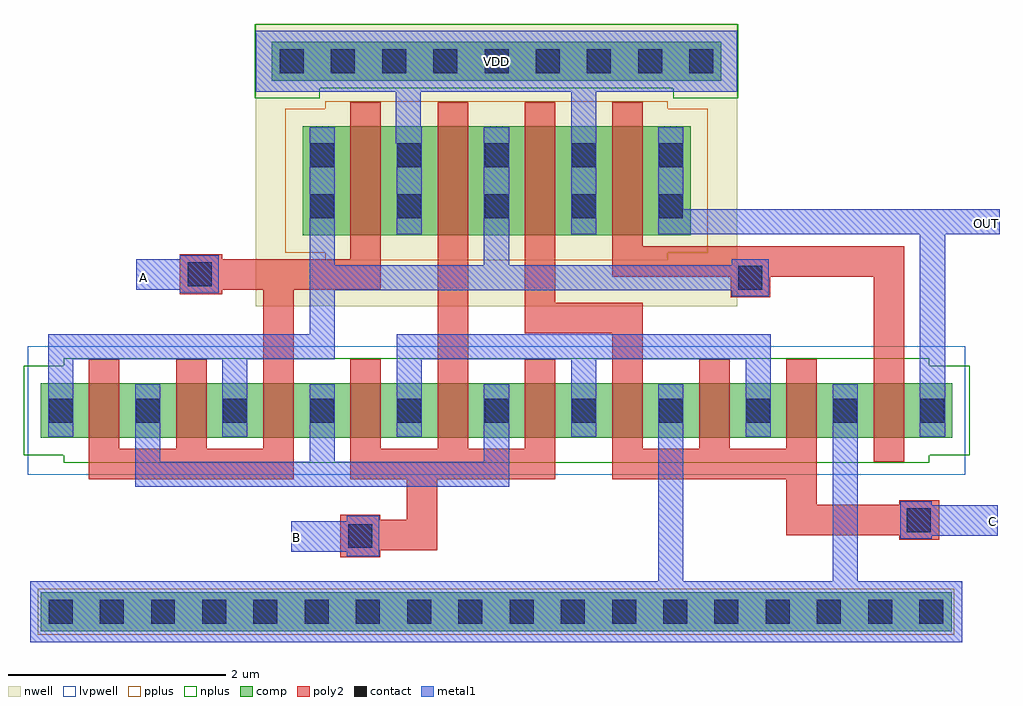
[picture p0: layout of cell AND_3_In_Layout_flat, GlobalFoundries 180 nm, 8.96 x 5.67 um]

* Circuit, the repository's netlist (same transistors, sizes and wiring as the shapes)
* NGSPICE file created from AND_3_In_Layout.ext - technology: gf180mcuC

.subckt nmos_3p3_JCGST2 a_n28_n94# a_132_n94# a_n132_n50# a_n276_n50# a_188_n50# a_28_n50#
+ a_n188_n94# VSUBS
X0 a_28_n50# a_n28_n94# a_n132_n50# VSUBS nfet_03v3 ad=0.13p pd=1.02u as=0.13p ps=1.02u w=0.5u l=0.28u
X1 a_n132_n50# a_n188_n94# a_n276_n50# VSUBS nfet_03v3 ad=0.13p pd=1.02u as=0.22p ps=1.88u w=0.5u l=0.28u
X2 a_188_n50# a_132_n94# a_28_n50# VSUBS nfet_03v3 ad=0.22p pd=1.88u as=0.13p ps=1.02u w=0.5u l=0.28u
.ends

.subckt nmos_3p3_GGGST2 a_n28_n94# a_n116_n50# a_28_n50# VSUBS
X0 a_28_n50# a_n28_n94# a_n116_n50# VSUBS nfet_03v3 ad=0.22p pd=1.88u as=0.22p ps=1.88u w=0.5u l=0.28u
.ends

.subckt pmos_3p3_MNVUAR w_n202_n230# a_28_n100# a_n28_n144# a_n116_n100#
X0 a_28_n100# a_n28_n144# a_n116_n100# w_n202_n230# pfet_03v3 ad=0.44p pd=2.88u as=0.44p ps=2.88u w=1u l=0.28u
.ends

.subckt AND_3_In_Layout A B C OUT VDD VSS
Xnmos_3p3_JCGST2_0 C C VSS m1_677_137# VSS m1_677_137# C VSS nmos_3p3_JCGST2
Xnmos_3p3_JCGST2_1 A A m1_197_n22# a_1072_364# m1_197_n22# a_1072_364# A VSS nmos_3p3_JCGST2
Xnmos_3p3_JCGST2_2 B B m1_677_137# m1_197_n22# m1_677_137# m1_197_n22# B VSS nmos_3p3_JCGST2
Xnmos_3p3_GGGST2_0 a_1072_364# VSS OUT VSS nmos_3p3_GGGST2
Xpmos_3p3_MNVUAR_0 VDD a_1072_364# B VDD pmos_3p3_MNVUAR
Xpmos_3p3_MNVUAR_1 VDD VDD A a_1072_364# pmos_3p3_MNVUAR
Xpmos_3p3_MNVUAR_2 VDD OUT a_1072_364# VDD pmos_3p3_MNVUAR
Xpmos_3p3_MNVUAR_3 VDD VDD C a_1072_364# pmos_3p3_MNVUAR
.ends

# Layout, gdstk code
import gdstk
lib = gdstk.Library(unit=1e-6, precision=1e-09)
def R(c, l, rs):  # rectangles x0, y0, x1, y1
    for r in rs: c.add(gdstk.rectangle(r[:2], r[2:], *l))
def A(c, l, x, y, w, h, nx, ny, dx, dy):  # array of equal rectangles
    R(c, l, [(x+i*dx, y+j*dy, x+i*dx+w, y+j*dy+h) for i in range(nx) for j in range(ny)])
nwell = (21, 0)
comp = (22, 0)
poly2 = (30, 0)
pplus = (31, 0)
nplus = (32, 0)
contact = (33, 0)
metal1 = (34, 0)
lvpwell = (204, 0)

and_3_in_layout_flat = lib.new_cell('AND_3_In_Layout_flat')
R(and_3_in_layout_flat, nwell, [(2.09,1.55,6.51,4.14)])
R(and_3_in_layout_flat, comp, [(0.12,-1.435,8.475,-1.075), (0.12,0.34,8.48,0.84), (2.52,2.2,6.08,3.2), (2.24,3.615,6.36,3.975)])
A(and_3_in_layout_flat, poly2, 0.56, -0.04, 1.88, 0.28, 3, 1, 2.4, 0)
A(and_3_in_layout_flat, poly2, 1.36, 0.24, 0.28, 0.82, 4, 1, 1.6, 0)
R(and_3_in_layout_flat, poly2, [(2.865,-0.755,3.235,-0.69), (2.865,-0.69,3.755,-0.41), (7.995,-0.595,8.36,-0.555), (6.96,-0.555,8.36,-0.275), (2.865,-0.41,3.235,-0.365), (3.475,-0.41,3.755,-0.04), (6.96,-0.275,7.24,-0.04), (7.995,-0.275,8.36,-0.23), (7.76,0.12,8.04,1.82), (0.56,0.24,0.84,1.06), (2.16,0.24,2.44,1.7), (3.76,0.24,4.04,3.42), (5.36,0.24,5.64,1.3), (6.96,0.24,7.24,1.06), (4.56,1.3,5.64,1.58), (4.56,1.58,4.84,3.42), (6.45,1.63,6.81,1.82), (1.395,1.66,1.785,1.7), (1.395,1.7,3.24,1.98), (5.36,1.82,8.04,2.1), (1.395,1.98,1.785,2.025), (2.96,1.98,3.24,3.42), (5.36,2.1,5.64,3.42)])
R(and_3_in_layout_flat, pplus, [(0.09,-1.465,8.5,-1.045), (2.73,1.97,5.87,2.04), (2.36,2.04,6.24,3.36), (2.73,3.36,5.87,3.43)])
R(and_3_in_layout_flat, nplus, [(0.33,0.11,8.27,0.18), (-0.04,0.18,8.64,1), (0.33,1,8.27,1.07), (2.08,3.455,2.68,3.55), (5.92,3.455,6.52,3.55), (2.08,3.55,6.52,4.135)])
A(and_3_in_layout_flat, contact, 0.19, -1.365, 0.22, 0.22, 18, 1, 0.47, 0)
A(and_3_in_layout_flat, contact, 0.19, 0.48, 0.22, 0.22, 11, 1, 0.8, 0)
A(and_3_in_layout_flat, contact, 2.59, 2.355, 0.22, 0.22, 5, 2, 0.8, 0.47)
A(and_3_in_layout_flat, contact, 2.31, 3.685, 0.22, 0.22, 9, 1, 0.47, 0)
R(and_3_in_layout_flat, contact, [(2.94,-0.67,3.16,-0.45), (8.065,-0.525,8.285,-0.305), (6.52,1.7,6.74,1.92), (1.465,1.73,1.685,1.95)])
A(and_3_in_layout_flat, metal1, 0.985, 0.12, 0.23, 0.71, 3, 1, 1.6, 0)
A(and_3_in_layout_flat, metal1, 0.185, 0.35, 0.23, 0.71, 5, 1, 1.6, 0)
R(and_3_in_layout_flat, metal1, [(0.02,-1.535,8.575,-0.975), (5.785,-0.975,6.015,0.83), (7.385,-0.975,7.615,0.83), (2.925,-0.745,3.225,-0.705), (2.415,-0.705,3.225,-0.425), (8.005,-0.585,8.295,-0.56), (8.005,-0.56,8.9,-0.28), (2.925,-0.425,3.225,-0.375), (8.005,-0.28,8.295,-0.24), (0.985,-0.11,4.415,0.12), (8.185,0.35,8.415,2.21), (0.185,1.06,2.815,1.29), (3.385,1.06,6.815,1.29), (2.585,1.29,2.815,1.695), (6.46,1.64,6.8,1.695), (1.395,1.67,1.75,1.7), (2.585,1.695,6.8,1.925), (0.995,1.7,1.75,1.98), (2.585,1.925,2.815,3.19), (4.185,1.925,4.415,3.19), (6.46,1.925,6.8,1.98), (1.395,1.98,1.75,2.015), (3.385,2.21,3.615,3.045), (4.985,2.21,5.215,3.515), (5.785,2.21,8.915,2.44), (5.785,2.44,6.015,3.19), (3.375,3.045,3.615,3.19), (3.375,3.19,3.605,3.515), (2.09,3.515,6.51,4.075)])
R(and_3_in_layout_flat, lvpwell, [(0,0,8.6,1.18)])
and_3_in_layout_flat.add(gdstk.Label('A', (1.065,1.81), layer=34, texttype=10))
and_3_in_layout_flat.add(gdstk.Label('B', (2.465,-0.575), layer=34, texttype=10))
and_3_in_layout_flat.add(gdstk.Label('C', (8.85,-0.43), layer=34, texttype=10))
and_3_in_layout_flat.add(gdstk.Label('OUT', (8.8,2.31), layer=34, texttype=10))
and_3_in_layout_flat.add(gdstk.Label('VDD', (4.3,3.795), layer=22, texttype=0))

lib.write_gds('AND_3_In_Layout_flat.gds')
